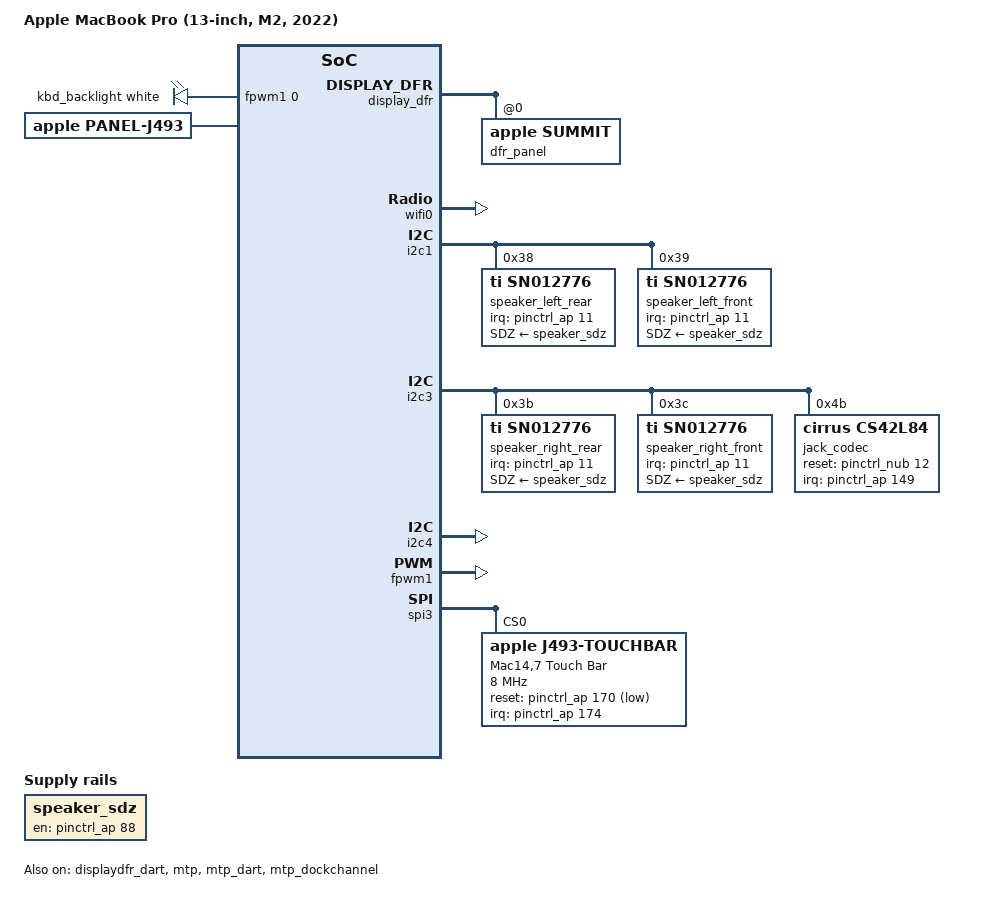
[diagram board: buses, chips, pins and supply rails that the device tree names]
// SPDX-License-Identifier: GPL-2.0+ OR MIT
/*
 * Apple MacBook Pro (13-inch, M1, 2022)
 *
 * target-type: J493
 *
 * Copyright The Asahi Linux Contributors
 */

/dts-v1/;

#include "t8112.dtsi"
#include "t8112-jxxx.dtsi"
#include <dt-bindings/leds/common.h>

/ {
	compatible = "apple,j493", "apple,t8112", "apple,arm-platform";
	model = "Apple MacBook Pro (13-inch, M2, 2022)";

	aliases {
		bluetooth0 = &bluetooth0;
		wifi0 = &wifi0;
		keyboard = &keyboard;
		touchbar0 = &touchbar0;
	};

	led-controller {
		compatible = "pwm-leds";
		led-0 {
			pwms = <&fpwm1 0 40000>;
			label = "kbd_backlight";
			function = LED_FUNCTION_KBD_BACKLIGHT;
			color = <LED_COLOR_ID_WHITE>;
			max-brightness = <255>;
			default-state = "keep";
		};
	};
};

&dcp {
	panel: panel {
		compatible = "apple,panel-j493", "apple,panel";
		width-mm = <286>;
		height-mm = <179>;
		apple,max-brightness = <525>;
	};
};

&framebuffer0 {
	panel = &panel;
};

&display_dfr {
	status = "okay";
	#address-cells = <1>;
	#size-cells = <0>;

	dfr_panel: panel@0 {
		compatible = "apple,summit";
		reg = <0>;
	};
};

&displaydfr_dart {
	status = "okay";
};

/*
 * Force the bus number assignments so that we can declare some of the
 * on-board devices and properties that are populated by the bootloader
 * (such as MAC addresses).
 */
&port00 {
	bus-range = <1 1>;
	pwren-gpios = <&smc_gpio 13 GPIO_ACTIVE_HIGH>;
	wifi0: wifi@0,0 {
		compatible = "pci14e4,4425";
		reg = <0x10000 0x0 0x0 0x0 0x0>;
		/* To be filled by the loader */
		local-mac-address = [00 00 00 00 00 00];
		apple,antenna-sku = "XX";
		brcm,board-type = "apple,kyushu";
	};

	bluetooth0: bluetooth@0,1 {
		compatible = "pci14e4,5f69";
		reg = <0x10100 0x0 0x0 0x0 0x0>;
		/* To be filled by the loader */
		local-bd-address = [00 00 00 00 00 00];
		brcm,board-type = "apple,kyushu";
	};
};

/*
 * Provide labels for the USB type C ports.
 */

&typec0 {
	label = "USB-C Left-back";
};

&typec1 {
	label = "USB-C Left-front";
};

/* Virtual regulator representing the shared shutdown GPIO */
/ {
	speaker_sdz: fixed-regulator-sn012776-sdz {
		compatible = "regulator-fixed";
		regulator-name = "sn012776-sdz";
		startup-delay-us = <5000>;
		gpios = <&pinctrl_ap 88 GPIO_ACTIVE_HIGH>;
		enable-active-high;
	};
};

&i2c1 {
	speaker_left_rear: codec@38 {
		compatible = "ti,sn012776", "ti,tas2764";
		reg = <0x38>;
		SDZ-supply = <&speaker_sdz>;
		#sound-dai-cells = <0>;
		sound-name-prefix = "Left Rear";
		interrupts-extended = <&pinctrl_ap 11 IRQ_TYPE_LEVEL_LOW>;
		ti,imon-slot-no = <8>;
		ti,vmon-slot-no = <10>;
	};

	speaker_left_front: codec@39 {
		compatible = "ti,sn012776", "ti,tas2764";
		reg = <0x39>;
		SDZ-supply = <&speaker_sdz>;
		#sound-dai-cells = <0>;
		sound-name-prefix = "Left Front";
		interrupts-extended = <&pinctrl_ap 11 IRQ_TYPE_LEVEL_LOW>;
		ti,imon-slot-no = <0>;
		ti,vmon-slot-no = <2>;
		ti,sdout-force-zero-mask = <0xf0f0>;
	};
};

&i2c3 {
	speaker_right_rear: codec@3b {
		compatible = "ti,sn012776", "ti,tas2764";
		reg = <0x3b>;
		SDZ-supply = <&speaker_sdz>;
		#sound-dai-cells = <0>;
		sound-name-prefix = "Right Rear";
		interrupts-extended = <&pinctrl_ap 11 IRQ_TYPE_LEVEL_LOW>;
		ti,imon-slot-no = <12>;
		ti,vmon-slot-no = <14>;
	};

	speaker_right_front: codec@3c {
		compatible = "ti,sn012776", "ti,tas2764";
		reg = <0x3c>;
		SDZ-supply = <&speaker_sdz>;
		#sound-dai-cells = <0>;
		sound-name-prefix = "Right Front";
		interrupts-extended = <&pinctrl_ap 11 IRQ_TYPE_LEVEL_LOW>;
		ti,imon-slot-no = <4>;
		ti,vmon-slot-no = <6>;
		ti,sdout-force-zero-mask = <0x0f0f>;
	};

	jack_codec: codec@4b {
		compatible = "cirrus,cs42l84";
		reg = <0x4b>;
		reset-gpios = <&pinctrl_nub 12 GPIO_ACTIVE_HIGH>;
		#sound-dai-cells = <0>;
		interrupts-extended = <&pinctrl_ap 149 IRQ_TYPE_LEVEL_LOW>;
		sound-name-prefix = "Jack";
	};
};

&i2c4 {
	status = "okay";
};

&fpwm1 {
	status = "okay";
};

/ {
	sound {
		compatible = "apple,j493-macaudio", "apple,macaudio";
		model = "MacBook Pro J493";

		dai-link@0 {
			link-name = "Speakers";

			cpu {
				sound-dai = <&mca 0>, <&mca 1>;
			};
			codec {
				sound-dai = <&speaker_left_front>, <&speaker_left_rear>,
					    <&speaker_right_front>, <&speaker_right_rear>;
			};
		};

		dai-link@1 {
			link-name = "Headphone Jack";

			cpu {
				sound-dai = <&mca 2>;
			};
			codec {
				sound-dai = <&jack_codec>;
			};
		};
	};
};

&spi3 {
	status = "okay";

	touchbar0: touchbar@0 {
		compatible = "apple,j493-touchbar", "apple,z2-touchbar", "apple,z2-multitouch";
		reg = <0>;
		label = "Mac14,7 Touch Bar";
		spi-max-frequency = <8000000>;
		spi-cs-setup-delay-ns = <2000>;
		spi-cs-hold-delay-ns = <2000>;

		reset-gpios = <&pinctrl_ap 170 GPIO_ACTIVE_LOW>;
		interrupts-extended = <&pinctrl_ap 174 IRQ_TYPE_EDGE_FALLING>;
		firmware-name = "apple/dfrmtfw-j493.bin";
		touchscreen-size-x = <23045>;
		touchscreen-size-y = <640>;
       };
};

&mtp {
	status = "okay";
};
&mtp_mbox {
	status = "okay";
};
&mtp_dart {
	status = "okay";
};
&mtp_dockchannel {
	status = "okay";
};
&mtp_hid {
	apple,afe-reset-gpios = <&smc_gpio 8 GPIO_ACTIVE_LOW>;
	apple,stm-reset-gpios = <&smc_gpio 24 GPIO_ACTIVE_LOW>;

	multi-touch {
		firmware-name = "apple/tpmtfw-j493.bin";
	};

	keyboard: keyboard {
		hid-country-code = <0>;
		apple,keyboard-layout-id = <0>;
	};

	stm {
	};

	actuator {
	};

	tp_accel {
	};
};

#include "isp-imx248.dtsi"

&isp {
	apple,platform-id = <6>;
};

#include "hwmon-fan.dtsi"
#include "hwmon-laptop.dtsi"
